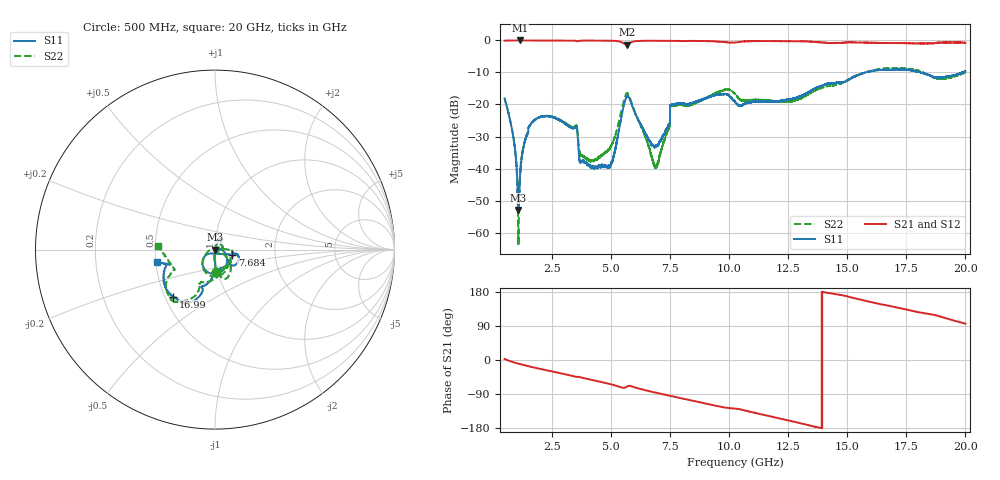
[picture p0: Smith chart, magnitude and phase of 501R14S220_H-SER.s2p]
!{501R14S220}
!Johanson Technology Inc.
!www.johansontechnology.com
!Test Board Conditions:
!Substrate Type  RO4350B
!Substrate Thickness  20 mil
!Substrate Dk  3.66
!TL Type: GCPW
!TL Trace Width  36 mil
!TL Gap  12 mil
!Electrode orientation  Horizontal
!DUT TOPOLOGY	SERIES
!Mounting Pad LxW  26x36 mil
! Created Wed Mar 11 16:05:11 2020
# mhz S ma R 50
! 2 Port Network Data from SP1.SP block
! freq  magS11  angS11  magS21  angS21  magS12  angS12  magS22  angS22
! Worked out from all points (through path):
!   19501 points, 500 MHz to 20 GHz, reference 50 ohm
!   highest |S21| = -0.01 dB at 1.148 GHz (marker M1); lowest = -1.3 dB at 5.67 GHz (marker M2)
!   group delay of S21, straight-line fit = 36.6 ps
!   lowest |S11| = -52.9 dB at 1.087 GHz (marker M3), VSWR 1.00, Z = 50.2 - j0.0628 ohm
!   |S11| at or under -10 dB: start of sweep to 15.77 GHz; 15.77441 GHz to 15.77636 GHz (1.948 MHz wide, 0.0123 % of centre); 18.11 GHz to 19.87 GHz (1.761 GHz wide, 9.27 % of centre) (the widest 3 of 6)
!   |S22| runs from -64.2 to -8.6 dB; largest |S21 - S12| = 0.02
!   S11 on the Smith chart (normalised r, x): 500 MHz: 0.99, -0.25; 7.684 GHz: 1.21, -0.07; 16.99 GHz: 0.55, -0.33; 20 GHz: 0.51, -0.08
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500  0.1241 -86.3  0.9898 2.8  0.9892 2.8  0.1244 -86.7
854  0.03354 -92.3  0.9974 -5.7  0.9968 -5.7  0.03347 -96.0
1087  0.002264 -16.0  0.9978 -9.8  0.9982 -9.8  0.0006152 151.0
1148  0.007172 61.9  0.9991 -10.8  0.9978 -10.9  0.007258 85.0
1234  0.0159 70.4  0.9982 -12.2  0.9985 -12.2  0.01607 81.6
1366  0.02734 71.1  0.9978 -14.3  0.9978 -14.2  0.02795 77.7
1943  0.06245 64.2  0.9953 -22.6  0.9954 -22.6  0.06261 70.2
3485  0.04363 38.0  0.9872 -43.9  0.9867 -43.9  0.04525 31.9
3750  0.01306 46.5  0.992 -46.2  0.9922 -46.2  0.0161 9.8
4233  0.01103 97.2  0.9935 -53.2  0.9941 -53.1  0.01332 -28.2
4977  0.0112 69.8  0.9891 -63.9  0.9887 -63.9  0.02167 -43.3
5670  0.1319 -83.1  0.8572 -70.5  0.8576 -70.5  0.1489 -84.1
6823  0.02219 -98.6  0.9886 -85.2  0.9901 -85.2  0.01142 128.0
7000  0.02337 -71.8  0.99 -87.7  0.9911 -87.7  0.01263 64.6
7684  0.101 -17.3  0.9845 -97.3  0.9832 -97.2  0.09641 -5.2
9783  0.1445 -29.5  0.9458 -125.0  0.9453 -124.9  0.1674 -64.0
10250  0.1098 -45.4  0.9294 -128.2  0.9291 -128.2  0.1468 -78.6
12472  0.1205 -90.9  0.9702 -159.0  0.974 -158.9  0.11 -57.2
13500  0.1669 -97.2  0.9539 -174.3  0.9593 -174.4  0.1567 -87.2
16750  0.3475 -128.2  0.912 143.3  0.9039 142.8  0.3708 -128.3
16987  0.3501 -131.6  0.9122 140.2  0.9071 139.9  0.3715 -130.0
20000  0.3282 -168.2  0.9189 95.8  0.9218 96.0  0.3176 176.0
